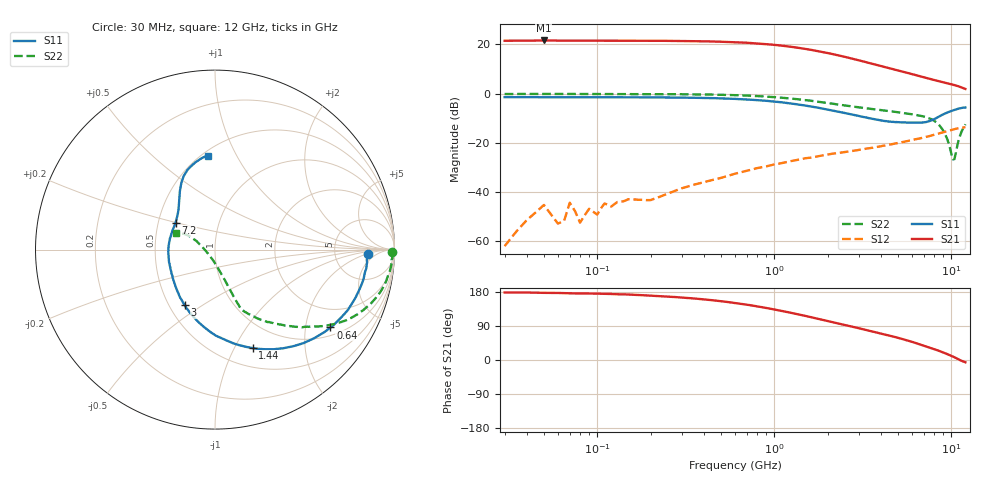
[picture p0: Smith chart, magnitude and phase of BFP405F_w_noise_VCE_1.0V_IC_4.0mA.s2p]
! Infineon Technologies  Discrete & RF Semiconductors
! BFP405F
! VCE =  1.0 V,  IC =  4.0 mA
! Common Emitter S-Parameters:  Nov 2015
# GHz  S  MA  R  50
!  f  S11  S21  S12  S22
! GHz  MAG  ANG  MAG  ANG  MAG  ANG  MAG  ANG
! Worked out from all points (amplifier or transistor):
!   239 points, 30 MHz to 12 GHz, reference 50 ohm
!   highest |S21| = 21.6 dB at 50 MHz (marker M1)
!   |S21| within 3 dB of that: start of sweep to 1.369 GHz
!   unconditionally stable (mu >= 1): 3.047 GHz to end of sweep
!   at 300 MHz: K = 0.04, MSG = 29.9 dB, |S12| = -38.4 dB
!   at 1.88 GHz: K = 0.63, MSG = 21.0 dB, |S12| = -25.0 dB
!   at 12 GHz: K = 1.50, MAG = 3.6 dB, |S12| = -13.6 dB
!   lowest NFmin = 1.20 dB at 450 MHz
!   S11 on the Smith chart (normalised r, x): 30 MHz: 12, -2; 640 MHz: 1.26, -2.75; 1.44 GHz: 0.71, -1.18; 3 GHz: 0.60, -0.42; 7.2 GHz: 0.62, +0.20; 12 GHz: 0.53, +0.77
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0.03  0.8503 -1.7  11.89 178.3  0.0008 157.9  0.986 -0.8
0.05  0.8477 -3.1  12.07 177.2  0.0055 139.6  0.99 -1.3
0.06  0.8499 -3.1  11.94 176.9  0.0023 -164.5  0.9892 -1.4
0.065  0.8488 -3.5  11.95 176.4  0.0026 95.5  0.9886 -1.7
0.07  0.8478 -4.0  11.96 175.9  0.0061 73.7  0.9881 -2.0
0.08  0.8493 -4.3  11.92 175.5  0.0024 112.3  0.9905 -2.2
0.085  0.8502 -4.7  11.95 175.5  0.0034 90.0  0.9896 -2.3
0.145  0.8462 -8.0  11.97 173.1  0.0068 89.3  0.9876 -4.2
0.24  0.8401 -13.2  11.86 168.0  0.0088 84.1  0.9817 -6.9
0.4  0.8197 -21.7  11.6 160.0  0.016 82.8  0.9657 -11.5
0.6  0.7846 -32.1  11.1 150.4  0.0237 75.2  0.9345 -16.9
0.64  0.7757 -34.0  10.99 148.7  0.0251 75.0  0.9272 -17.9
1  0.6928 -51.0  9.823 133.3  0.0366 67.7  0.8515 -26.4
1.44  0.5872 -69.1  8.311 118.1  0.0474 60.9  0.7536 -34.1
1.64  0.5447 -76.6  7.69 112.2  0.051 58.5  0.7128 -36.9
2.2  0.446 -95.9  6.231 98.3  0.061 53.9  0.6159 -44.2
3  0.3535 -118.6  4.772 83.9  0.0722 49.5  0.5273 -51.3
4.5  0.2716 -155.6  3.271 64.2  0.0922 45.9  0.442 -59.0
7.2  0.2657 145.8  2.094 36.0  0.1328 38.8  0.3323 -66.9
9  0.3817 120.8  1.707 19.8  0.1655 31.9  0.1767 -72.2
10.2  0.457 111.0  1.524 9.1  0.1878 25.7  0.0464 -126.3
12  0.5249 94.5  1.249 -6.1  0.2094 16.7  0.2392 156.6
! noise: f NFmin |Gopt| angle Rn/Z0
0.45  1.2  0.44  5  0.35
0.9  1.21  0.41  13  0.38
1.5  1.29  0.38  19  0.33
1.9  1.32  0.36  25  0.33
2.4  1.49  0.34  35  0.35
3  1.56  0.32  46  0.32
3.5  1.61  0.31  55  0.29
4.5  1.77  0.24  70  0.26
5.5  2  0.15  83  0.16
